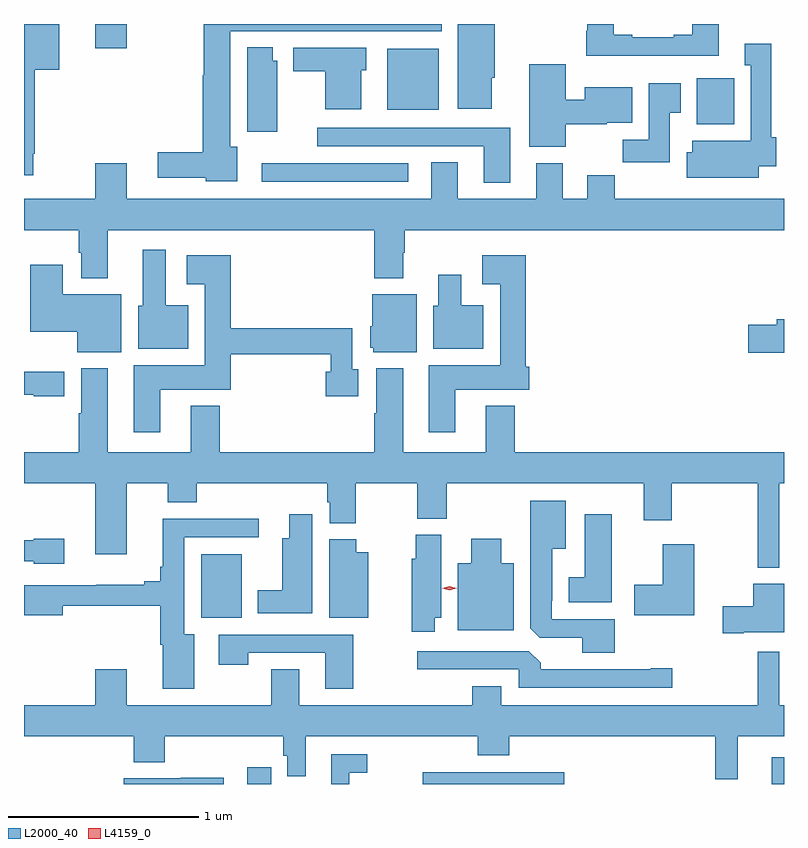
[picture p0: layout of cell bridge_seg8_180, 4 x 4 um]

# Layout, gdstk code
import gdstk
lib = gdstk.Library(unit=1e-6, precision=1e-09)
def R(c, l, rs):  # rectangles x0, y0, x1, y1
    for r in rs: c.add(gdstk.rectangle(r[:2], r[2:], *l))
def P(c, l, *ps):  # polygons
    for p in ps: c.add(gdstk.Polygon(p, *l))
L2000_40 = (2000, 40)
L4159_0 = (4159, 0)

bridge_seg8_180 = lib.new_cell('bridge_seg8_180')
R(bridge_seg8_180, L2000_40, [(417.555,1093.605,417.68,1093.693), (418.479,1093.605,419.224,1093.668), (420.315,1093.605,420.38,1093.747), (417.314,1094.48,417.526,1094.815), (417.63,1096.776,418.402,1096.872), (419.921,1097.078,420.118,1097.32), (418.292,1097.153,418.564,1097.476), (416.756,1097.478,416.92,1097.605)])
P(bridge_seg8_180, L2000_40, [(418.843,1097.322),(418.858,1097.322),(418.858,1097.605),(418.664,1097.605),(418.664,1097.159),(418.843,1097.159)],
  [(416.429,1096.921),(416.437,1096.921),(416.437,1097.363),(416.566,1097.363),(416.566,1097.605),(416.38,1097.605),(416.38,1096.809),(416.429,1096.809)],
  [(417.502,1096.96),(417.466,1096.96),(417.466,1097.568),(418.579,1097.568),(418.579,1097.605),(417.325,1097.605),(417.325,1097.334),(417.32,1097.334),(417.32,1096.931),(417.084,1096.931),(417.084,1096.796),(417.336,1096.796),(417.336,1096.778),(417.502,1096.778)],
  [(420.037,1097.605),(419.897,1097.605),(419.897,1097.548),(419.801,1097.548),(419.801,1097.535),(419.581,1097.535),(419.581,1097.548),(419.485,1097.548),(419.485,1097.605),(419.345,1097.605),(419.345,1097.57),(419.338,1097.57),(419.338,1097.438),(420.037,1097.438)],
  [(420.247,1096.856),(420.34,1096.856),(420.34,1097.01),(420.313,1097.01),(420.313,1097.5),(420.173,1097.5),(420.173,1097.387),(420.206,1097.387),(420.206,1096.99),(419.897,1096.99),(419.897,1096.931),(419.867,1096.931),(419.867,1096.796),(420.247,1096.796)],
  [(417.712,1097.412),(417.688,1097.412),(417.688,1097.483),(417.554,1097.483),(417.554,1097.039),(417.712,1097.039)],
  [(418.156,1097.361),(418.18,1097.361),(418.18,1097.479),(417.797,1097.479),(417.797,1097.357),(417.965,1097.357),(417.965,1097.156),(418.156,1097.156)],
  [(419.23,1097.078),(419.448,1097.078),(419.448,1097.084),(419.581,1097.084),(419.581,1097.272),(419.33,1097.272),(419.33,1097.206),(419.23,1097.206),(419.23,1097.392),(419.039,1097.392),(419.039,1096.958),(419.23,1096.958)],
  [(419.779,1097.137),(419.836,1097.137),(419.836,1097.293),(419.669,1097.293),(419.669,1096.996),(419.53,1096.996),(419.53,1096.878),(419.779,1096.878)],
  [(418.939,1097.058),(417.924,1097.058),(417.924,1096.962),(418.799,1096.962),(418.799,1096.77),(418.939,1096.77)],
  [(416.821,1096.52),(418.223,1096.52),(418.223,1096.268),(418.375,1096.268),(418.375,1096.4),(418.383,1096.4),(418.383,1096.52),(420.38,1096.52),(420.38,1096.684),(419.489,1096.684),(419.489,1096.808),(419.345,1096.808),(419.345,1096.684),(419.215,1096.684),(419.215,1096.873),(419.075,1096.873),(419.075,1096.684),(418.663,1096.684),(418.663,1096.877),(418.523,1096.877),(418.523,1096.684),(416.92,1096.684),(416.92,1096.873),(416.756,1096.873),(416.756,1096.684),(416.38,1096.684),(416.38,1096.52),(416.669,1096.52),(416.669,1096.4),(416.681,1096.4),(416.681,1096.268),(416.821,1096.268)],
  [(417.244,1096.126),(417.127,1096.126),(417.127,1096.417),(417.005,1096.417),(417.005,1096.122),(416.981,1096.122),(416.981,1095.896),(417.244,1095.896)],
  [(418.651,1095.68),(419.039,1095.68),(419.039,1095.801),(419.021,1095.801),(419.021,1096.387),(418.791,1096.387),(418.791,1096.235),(418.886,1096.235),(418.886,1095.808),(418.511,1095.808),(418.511,1095.456),(418.651,1095.456)],
  [(417.097,1095.68),(417.467,1095.68),(417.467,1095.868),(417.995,1095.868),(417.995,1095.775),(417.968,1095.775),(417.968,1095.646),(418.138,1095.646),(418.138,1095.788),(418.107,1095.788),(418.107,1096.004),(417.467,1096.004),(417.467,1096.387),(417.237,1096.387),(417.237,1096.235),(417.332,1096.235),(417.332,1095.808),(416.957,1095.808),(416.957,1095.456),(417.097,1095.456)],
  [(416.893,1096.183),(416.584,1096.183),(416.584,1096.339),(416.414,1096.339),(416.414,1095.986),(416.66,1095.986),(416.66,1095.878),(416.893,1095.878)],
  [(418.798,1096.126),(418.681,1096.126),(418.681,1096.285),(418.559,1096.285),(418.559,1096.122),(418.535,1096.122),(418.535,1095.896),(418.798,1095.896)],
  [(418.447,1096.183),(418.214,1096.183),(418.214,1096.014),(418.202,1096.014),(418.202,1095.9),(418.218,1095.9),(418.218,1095.878),(418.447,1095.878)],
  [(420.38,1096.051),(420.341,1096.051),(420.341,1096.022),(420.192,1096.022),(420.192,1095.875),(420.38,1095.875)],
  [(420.355,1095.188),(420.38,1095.188),(420.38,1095.352),(418.964,1095.352),(418.964,1095.595),(418.811,1095.595),(418.811,1095.352),(418.375,1095.352),(418.375,1095.793),(418.235,1095.793),(418.235,1095.557),(418.223,1095.557),(418.223,1095.352),(417.41,1095.352),(417.41,1095.595),(417.257,1095.595),(417.257,1095.352),(416.821,1095.352),(416.821,1095.793),(416.681,1095.793),(416.681,1095.557),(416.669,1095.557),(416.669,1095.352),(416.38,1095.352),(416.38,1095.188),(416.756,1095.188),(416.756,1094.814),(416.92,1094.814),(416.92,1095.188),(417.137,1095.188),(417.137,1095.089),(417.29,1095.089),(417.29,1095.188),(417.977,1095.188),(417.977,1095.087),(417.989,1095.087),(417.989,1094.977),(418.125,1094.977),(418.125,1095.188),(418.45,1095.188),(418.45,1095.001),(418.605,1095.001),(418.605,1095.188),(419.642,1095.188),(419.642,1094.994),(419.79,1094.994),(419.79,1095.188),(420.241,1095.188),(420.241,1094.744),(420.355,1094.744)],
  [(416.593,1095.775),(416.38,1095.775),(416.38,1095.654),(416.43,1095.654),(416.43,1095.646),(416.593,1095.646)],
  [(419.488,1094.472),(419.157,1094.472),(419.157,1094.569),(419.161,1094.569),(419.161,1094.843),(419.23,1094.843),(419.23,1095.097),(419.045,1095.097),(419.045,1094.425),(419.094,1094.376),(419.318,1094.376),(419.318,1094.297),(419.488,1094.297)],
  [(419.473,1095.025),(419.33,1095.025),(419.33,1094.692),(419.246,1094.692),(419.246,1094.561),(419.473,1094.561)],
  [(417.898,1095.025),(417.776,1095.025),(417.776,1094.899),(417.74,1094.899),(417.74,1094.626),(417.611,1094.626),(417.611,1094.504),(417.898,1094.504)],
  [(417.277,1094.392),(417.223,1094.392),(417.223,1094.904),(417.616,1094.904),(417.616,1095.002),(417.11,1095.002),(417.11,1094.749),(417.098,1094.749),(417.098,1094.672),(417.014,1094.672),(417.014,1094.653),(416.76,1094.653),(416.76,1094.652),(416.38,1094.652),(416.38,1094.494),(416.584,1094.494),(416.584,1094.544),(417.098,1094.544),(417.098,1094.339),(417.11,1094.339),(417.11,1094.106),(417.277,1094.106)],
  [(418.543,1094.48),(418.576,1094.48),(418.576,1094.916),(418.442,1094.916),(418.442,1094.79),(418.421,1094.79),(418.421,1094.406),(418.543,1094.406)],
  [(418.957,1094.767),(418.891,1094.767),(418.891,1094.896),(418.733,1094.896),(418.733,1094.767),(418.664,1094.767),(418.664,1094.414),(418.957,1094.414)],
  [(416.593,1094.895),(416.43,1094.895),(416.43,1094.887),(416.38,1094.887),(416.38,1094.777),(416.43,1094.777),(416.43,1094.765),(416.593,1094.765)],
  [(418.192,1094.824),(418.128,1094.824),(418.128,1094.892),(417.986,1094.892),(417.986,1094.48),(418.192,1094.48)],
  [(419.907,1094.866),(419.741,1094.866),(419.741,1094.655),(419.592,1094.655),(419.592,1094.492),(419.907,1094.492)],
  [(420.169,1094.405),(420.38,1094.405),(420.38,1094.659),(420.218,1094.659),(420.218,1094.54),(420.057,1094.54),(420.057,1094.398),(420.169,1094.398)],
  [(418.113,1094.391),(417.405,1094.391),(417.405,1094.232),(417.561,1094.232),(417.561,1094.295),(417.965,1094.295),(417.965,1094.106),(418.113,1094.106)],
  [(419.791,1094.213),(419.678,1094.213),(419.678,1094.208),(419.099,1094.208),(419.099,1094.242),(419.037,1094.304),(418.449,1094.304),(418.449,1094.208),(418.983,1094.208),(418.983,1094.112),(419.791,1094.112)],
  [(420.137,1093.856),(420.38,1093.856),(420.38,1094.02),(420.355,1094.02),(420.355,1094.302),(420.241,1094.302),(420.241,1094.02),(418.891,1094.02),(418.891,1094.119),(418.739,1094.119),(418.739,1094.02),(417.829,1094.02),(417.829,1094.21),(417.682,1094.21),(417.682,1094.02),(416.92,1094.02),(416.92,1094.209),(416.756,1094.209),(416.756,1094.02),(416.38,1094.02),(416.38,1093.856),(416.957,1093.856),(416.957,1093.72),(417.122,1093.72),(417.122,1093.856),(417.745,1093.856),(417.745,1093.755),(417.765,1093.755),(417.765,1093.646),(417.862,1093.646),(417.862,1093.856),(418.769,1093.856),(418.769,1093.757),(418.934,1093.757),(418.934,1093.856),(420.019,1093.856),(420.019,1093.631),(420.137,1093.631)],
  [(418.092,1093.665),(418.186,1093.665),(418.186,1093.761),(417.996,1093.761),(417.996,1093.605),(418.092,1093.605)],
  [(417.43,1093.638),(417.205,1093.638),(417.205,1093.635),(416.905,1093.635),(416.905,1093.605),(417.43,1093.605)])
P(bridge_seg8_180, L4159_0, [(418.619,1094.625),(418.581,1094.635),(418.58,1094.635),(418.581,1094.635),(418.619,1094.645),(418.657,1094.636),(418.657,1094.635),(418.657,1094.635)])

lib.write_gds('bridge_seg8_180.gds')
